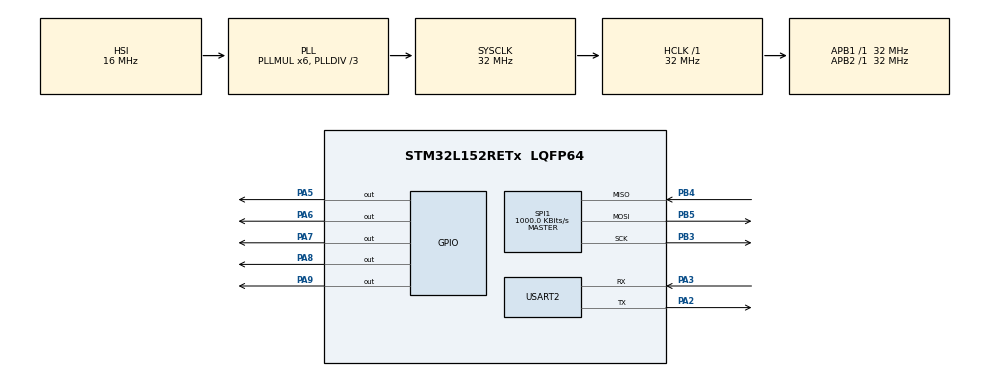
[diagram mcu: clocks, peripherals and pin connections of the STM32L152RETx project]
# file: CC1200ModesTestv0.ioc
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Mcu.Family=STM32L1
Mcu.Name=STM32L152RETx
Mcu.Package=LQFP64
NVIC.PriorityGroup=NVIC_PRIORITYGROUP_0
PA2.Mode=Asynchronous
PA2.Signal=USART2_TX
PA3.Mode=Asynchronous
PA3.Signal=USART2_RX
PA5.Signal=GPIO_Output
PA6.Signal=GPIO_Output
PA7.Signal=GPIO_Output
PA8.Signal=GPIO_Output
PA9.Signal=GPIO_Output
PB3.Mode=Full_Duplex_Master
PB3.Signal=SPI1_SCK
PB4.Mode=Full_Duplex_Master
PB4.Signal=SPI1_MISO
PB5.Mode=Full_Duplex_Master
PB5.Signal=SPI1_MOSI
ProjectManager.HeapSize=0x200
ProjectManager.StackSize=0x400
ProjectManager.TargetToolchain=MDK-ARM V5
RCC.48MHZClocksFreq_Value=48000000
RCC.AHBFreq_Value=32000000
RCC.APB1Freq_Value=32000000
RCC.APB1TimFreq_Value=32000000
RCC.APB2Freq_Value=32000000
RCC.APB2TimFreq_Value=32000000
RCC.HCLKFreq_Value=32000000
RCC.HSE_VALUE=8000000
RCC.HSI_VALUE=16000000
RCC.LSE_VALUE=32768
RCC.MSI_VALUE=2097000
RCC.PLLDIV=RCC_PLL_DIV3
RCC.PLLMUL=RCC_PLL_MUL6
RCC.RTCClockSelectionVirtual=RCC_RTCCLKSOURCE_LSE
RCC.SYSCLKFreq_VALUE=32000000
RCC.SYSCLKSource=RCC_SYSCLKSOURCE_PLLCLK
RCC.USBOutput=48000000
RCC.VCOOutputFreq_Value=96000000
SPI1.BaudRatePrescaler=SPI_BAUDRATEPRESCALER_32
SPI1.CalculateBaudRate=1000.0 KBits/s
SPI1.Direction=SPI_DIRECTION_2LINES
SPI1.Mode=SPI_MODE_MASTER
SPI1.VirtualType=VM_MASTER
USART2.VirtualMode=VM_ASYNC
board=NUCLEO-L152RE

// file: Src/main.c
/* USER CODE BEGIN Header */
/**
  ******************************************************************************
  * @file           : main.c
  * @brief          : Main program body
  ******************************************************************************
  ** This notice applies to any and all portions of this file
  * that are not between comment pairs USER CODE BEGIN and
  * USER CODE END. Other portions of this file, whether
  * inserted by the user or by software development tools
  * are owned by their respective copyright owners.
  *
  * COPYRIGHT(c) 2019 STMicroelectronics
  *
  * Redistribution and use in source and binary forms, with or without modification,
  * are permitted provided that the following conditions are met:
  *   1. Redistributions of source code must retain the above copyright notice,
  *      this list of conditions and the following disclaimer.
  *   2. Redistributions in binary form must reproduce the above copyright notice,
  *      this list of conditions and the following disclaimer in the documentation
  *      and/or other materials provided with the distribution.
  *   3. Neither the name of STMicroelectronics nor the names of its contributors
  *      may be used to endorse or promote products derived from this software
  *      without specific prior written permission.
  *
  * THIS SOFTWARE IS PROVIDED BY THE COPYRIGHT HOLDERS AND CONTRIBUTORS "AS IS"
  * AND ANY EXPRESS OR IMPLIED WARRANTIES, INCLUDING, BUT NOT LIMITED TO, THE
  * IMPLIED WARRANTIES OF MERCHANTABILITY AND FITNESS FOR A PARTICULAR PURPOSE ARE
  * DISCLAIMED. IN NO EVENT SHALL THE COPYRIGHT HOLDER OR CONTRIBUTORS BE LIABLE
  * FOR ANY DIRECT, INDIRECT, INCIDENTAL, SPECIAL, EXEMPLARY, OR CONSEQUENTIAL
  * DAMAGES (INCLUDING, BUT NOT LIMITED TO, PROCUREMENT OF SUBSTITUTE GOODS OR
  * SERVICES; LOSS OF USE, DATA, OR PROFITS; OR BUSINESS INTERRUPTION) HOWEVER
  * CAUSED AND ON ANY THEORY OF LIABILITY, WHETHER IN CONTRACT, STRICT LIABILITY,
  * OR TORT (INCLUDING NEGLIGENCE OR OTHERWISE) ARISING IN ANY WAY OUT OF THE USE
  * OF THIS SOFTWARE, EVEN IF ADVISED OF THE POSSIBILITY OF SUCH DAMAGE.
  *
  ******************************************************************************
  */
/* USER CODE END Header */

#include "main.h"

/* USER CODE BEGIN Includes */

#include "string.h"
#include "CC1200_reg.h"
#include "smartrf_CC1200.h"

/* USER CODE END Includes */

SPI_HandleTypeDef hspi1;

UART_HandleTypeDef huart2;

void SystemClock_Config(void);
static void MX_GPIO_Init(void);
static void MX_SPI1_Init(void);
static void MX_USART2_UART_Init(void);
/* USER CODE BEGIN PFP */

void trxRfSpiInterfaceInit(uint8_t prescalerValue);
uint8_t trx8BitRegAccess(uint8_t accessType, uint8_t addrByte, uint8_t *pData, int len);
uint8_t ReadWriteExtendedReg (uint8_t accessType, uint16_t address, uint8_t value);
uint8_t ReadWriteCommandReg (uint8_t address);
void CC1200_INIT(void);

/* USER CODE END PFP */

int main(void)
{

  /* MCU Configuration--------------------------------------------------------*/

  /* Reset of all peripherals, Initializes the Flash interface and the Systick. */
  HAL_Init();

  /* Configure the system clock */
  SystemClock_Config();

  /* Initialize all configured peripherals */
  MX_GPIO_Init();
  MX_SPI1_Init();
  MX_USART2_UART_Init();
  /* USER CODE BEGIN 2 */

	/* Start CC1200 SPI Test Harness
	 *
	 * Wiring:
	 * Reset -- D7 (PA8)
	 * CSN   -- D8 (PA9)
	 * SCLK  -- D3 (PB3)
	 * MOSI  -- D4 (PB5)
	 * MISO  -- D5 (PB4)
	 */

	//Set CS high
	HAL_GPIO_WritePin(GPIOA, GPIO_PIN_9, GPIO_PIN_SET);
	//Set reset high, low, high to begin
	HAL_GPIO_WritePin(GPIOA, GPIO_PIN_8, GPIO_PIN_SET);
	HAL_Delay(10);
	HAL_GPIO_WritePin(GPIOA, GPIO_PIN_8, GPIO_PIN_RESET);
	HAL_Delay(10);
	HAL_GPIO_WritePin(GPIOA, GPIO_PIN_8, GPIO_PIN_SET);
	HAL_Delay(10);

	///////////////////////////////////////////////////////////////////////
	// Start the test
	///////////////////////////////////////////////////////////////////////
	uint16_t address ;
	uint8_t value  ;
	uint8_t readValue;
	char Msg1[100] = {0};
	char Msg2[100] = {0};
	char Msg3[100] = {0};

	snprintf((char *)Msg1, sizeof(Msg1), "\n\nSTARTING PACKET RX/TX TEST\n\n");
	HAL_UART_Transmit(&huart2, (uint8_t *) Msg1, sizeof(Msg1), 1);
		memcpy(Msg1, Msg2, 100);
	// Configure all neccesary registers (from smart RF)
	CC1200_INIT();

	///////////////////////////////////////////////////////////////////////
	// Test: send a packet continuously and receive with the dev board
	///////////////////////////////////////////////////////////////////////

 	//Step 1 fill out the tx buffer with data
	snprintf((char *)Msg3, sizeof(Msg3), "\n\nSTARTING PACKETRX/TX TEST\n\n");
	trx8BitRegAccess((CC1200_WRITE_BIT | CC1200_BURST_BIT), CC1200_TXFIFO, (uint8_t *) Msg3, 6 );

	//find a way to make sure that data is in txfifo

	//Step 2 Strobe tx to send mode(going from idle to transmit)
	ReadWriteCommandReg(CC1200_SIDLE); // Idle//might need to go to idle first
	ReadWriteCommandReg(CC1200_STX);//Transmit

 	//Step3 SET or RESET neccesary frontend pins on the frontend of the transciver
	// TX: set PA7(Power Amplifier) ,set PA6(switch) , RESET PA5(LNA off)
	HAL_GPIO_WritePin(GPIOA, GPIO_PIN_7, GPIO_PIN_RESET);//turn on PA(qorvo5110)
	HAL_GPIO_WritePin(GPIOA, GPIO_PIN_6, GPIO_PIN_SET);//switch on(RFC to RF2)
  HAL_GPIO_WritePin(GPIOA, GPIO_PIN_5, GPIO_PIN_SET);//turn off LNA
  /* USER CODE END 2 */

  /* Infinite loop */
  while (1)
  {

  }
}

void SystemClock_Config(void)
{
  RCC_OscInitTypeDef RCC_OscInitStruct = {0};
  RCC_ClkInitTypeDef RCC_ClkInitStruct = {0};

  /**Configure the main internal regulator output voltage
  */
  __HAL_PWR_VOLTAGESCALING_CONFIG(PWR_REGULATOR_VOLTAGE_SCALE1);
  /**Initializes the CPU, AHB and APB busses clocks
  */
  RCC_OscInitStruct.OscillatorType = RCC_OSCILLATORTYPE_HSI;
  RCC_OscInitStruct.HSIState = RCC_HSI_ON;
  RCC_OscInitStruct.HSICalibrationValue = RCC_HSICALIBRATION_DEFAULT;
  RCC_OscInitStruct.PLL.PLLState = RCC_PLL_ON;
  RCC_OscInitStruct.PLL.PLLSource = RCC_PLLSOURCE_HSI;
  RCC_OscInitStruct.PLL.PLLMUL = RCC_PLL_MUL6;
  RCC_OscInitStruct.PLL.PLLDIV = RCC_PLL_DIV3;
  if (HAL_RCC_OscConfig(&RCC_OscInitStruct) != HAL_OK)
  {
    Error_Handler();
  }
  /**Initializes the CPU, AHB and APB busses clocks
  */
  RCC_ClkInitStruct.ClockType = RCC_CLOCKTYPE_HCLK|RCC_CLOCKTYPE_SYSCLK
                              |RCC_CLOCKTYPE_PCLK1|RCC_CLOCKTYPE_PCLK2;
  RCC_ClkInitStruct.SYSCLKSource = RCC_SYSCLKSOURCE_PLLCLK;
  RCC_ClkInitStruct.AHBCLKDivider = RCC_SYSCLK_DIV1;
  RCC_ClkInitStruct.APB1CLKDivider = RCC_HCLK_DIV1;
  RCC_ClkInitStruct.APB2CLKDivider = RCC_HCLK_DIV1;

  if (HAL_RCC_ClockConfig(&RCC_ClkInitStruct, FLASH_LATENCY_1) != HAL_OK)
  {
    Error_Handler();
  }
}

static void MX_SPI1_Init(void)
{

  /* SPI1 parameter configuration*/
  hspi1.Instance = SPI1;
  hspi1.Init.Mode = SPI_MODE_MASTER;
  hspi1.Init.Direction = SPI_DIRECTION_2LINES;
  hspi1.Init.DataSize = SPI_DATASIZE_8BIT;
  hspi1.Init.CLKPolarity = SPI_POLARITY_LOW;
  hspi1.Init.CLKPhase = SPI_PHASE_1EDGE;
  hspi1.Init.NSS = SPI_NSS_SOFT;
  hspi1.Init.BaudRatePrescaler = SPI_BAUDRATEPRESCALER_32;
  hspi1.Init.FirstBit = SPI_FIRSTBIT_MSB;
  hspi1.Init.TIMode = SPI_TIMODE_DISABLE;
  hspi1.Init.CRCCalculation = SPI_CRCCALCULATION_DISABLE;
  hspi1.Init.CRCPolynomial = 10;
  if (HAL_SPI_Init(&hspi1) != HAL_OK)
  {
    Error_Handler();
  }

}

static void MX_USART2_UART_Init(void)
{

  huart2.Instance = USART2;
  huart2.Init.BaudRate = 115200;
  huart2.Init.WordLength = UART_WORDLENGTH_8B;
  huart2.Init.StopBits = UART_STOPBITS_1;
  huart2.Init.Parity = UART_PARITY_NONE;
  huart2.Init.Mode = UART_MODE_TX_RX;
  huart2.Init.HwFlowCtl = UART_HWCONTROL_NONE;
  huart2.Init.OverSampling = UART_OVERSAMPLING_16;
  if (HAL_UART_Init(&huart2) != HAL_OK)
  {
    Error_Handler();
  }

}

static void MX_GPIO_Init(void)
{
  GPIO_InitTypeDef GPIO_InitStruct = {0};

  /* GPIO Ports Clock Enable */
  __HAL_RCC_GPIOA_CLK_ENABLE();
  __HAL_RCC_GPIOB_CLK_ENABLE();

  /*Configure GPIO pin Output Level */
  HAL_GPIO_WritePin(GPIOA, GPIO_PIN_5|GPIO_PIN_6|GPIO_PIN_7|GPIO_PIN_8
                          |GPIO_PIN_9, GPIO_PIN_RESET);

  /*Configure GPIO pins : PA5 PA6 PA7 PA8
                           PA9 */
  GPIO_InitStruct.Pin = GPIO_PIN_5|GPIO_PIN_6|GPIO_PIN_7|GPIO_PIN_8
                          |GPIO_PIN_9;
  GPIO_InitStruct.Mode = GPIO_MODE_OUTPUT_PP;
  GPIO_InitStruct.Pull = GPIO_NOPULL;
  GPIO_InitStruct.Speed = GPIO_SPEED_FREQ_LOW;
  HAL_GPIO_Init(GPIOA, &GPIO_InitStruct);

}

/* USER CODE BEGIN 4 */

static void trxReadWriteBurstSingle(uint8_t addr, uint8_t *pData, int len)
{
    int i;
    uint8_t dummy;
    /* Communicate len number of bytes: if RX - the procedure sends 0x00 to push bytes from slave*/
    if (addr & CC1200_READ_BIT) {
        if (addr & CC1200_BURST_BIT) {
            for (i = 0; i < len; i++) {
								HAL_SPI_Transmit(&hspi1,0x0, 1, 10);
                while (HAL_SPI_GetState(&hspi1) != HAL_SPI_STATE_READY);
                HAL_SPI_Receive(&hspi1, pData, 1, 10);
                pData++;

            }
        } else {
						HAL_SPI_Transmit(&hspi1,0x0, 1, 10);
            while (HAL_SPI_GetState(&hspi1) != HAL_SPI_STATE_READY);
            HAL_SPI_Receive(&hspi1, pData, 1, 10);
        }
    } else {
        if (addr & CC1200_BURST_BIT) {
            /* Communicate len number of bytes: if TX - the procedure doesn't overwrite pData */
            for (i = 0; i < len; i++) {
								HAL_SPI_Transmit(&hspi1,pData, 1, 10);
                while (HAL_SPI_GetState(&hspi1) != HAL_SPI_STATE_READY);
								HAL_SPI_Receive(&hspi1, &dummy, 1, 10);
                pData++;
            }
        } else {
						HAL_SPI_Transmit(&hspi1,pData, 1, 10);
            while (HAL_SPI_GetState(&hspi1) != HAL_SPI_STATE_READY);
						HAL_SPI_Receive(&hspi1, &dummy, 1, 10);
        }
    }
}

uint8_t trx8BitRegAccess(uint8_t accessType, uint8_t addrByte, uint8_t *pData, int len)
{
	uint8_t addr;
	uint8_t readValue  = 0;
	addr = accessType | addrByte;

	HAL_GPIO_WritePin(GPIOA, GPIO_PIN_9, GPIO_PIN_RESET);

	HAL_SPI_Transmit(&hspi1,&addr, 1, 10);
	while (HAL_SPI_GetState(&hspi1) != HAL_SPI_STATE_READY){};
	HAL_SPI_Receive(&hspi1, &readValue, 1, 10);
	trxReadWriteBurstSingle(accessType | addrByte, pData, len);

	HAL_GPIO_WritePin(GPIOA, GPIO_PIN_9, GPIO_PIN_SET);

	return (readValue);
}

uint8_t ReadWriteExtendedReg (uint8_t accessType, uint16_t address, uint8_t value)
{
	// Chip select low
	HAL_GPIO_WritePin(GPIOA, GPIO_PIN_9, GPIO_PIN_RESET);

	uint8_t addrHI = address>>8;
	uint8_t addrLO = (uint8_t) address;
	uint8_t readValue = 0;

	if(accessType) { 	// Read from address

		if (addrHI)
		{
			addrHI |= CC1200_READ_BIT;
			HAL_SPI_Transmit(&hspi1,&addrHI, 1, 10);	// Access address
			while (HAL_SPI_GetState(&hspi1) != HAL_SPI_STATE_READY){};
			HAL_SPI_Transmit(&hspi1,&addrLO, 1, 10);
		}
		else
		{
			addrLO |= CC1200_READ_BIT;
			HAL_SPI_Transmit(&hspi1,&addrLO, 1, 10);
			while (HAL_SPI_GetState(&hspi1) != HAL_SPI_STATE_READY){};
		}
		HAL_SPI_Transmit(&hspi1,0x0, 1, 10); // Transmit 0 for read
		HAL_SPI_Receive(&hspi1, &readValue, 1, 10); // Read value

	} else { // Write to address

		addrHI |= CC1200_WRITE_BIT;

		if (addrHI)
		{
			HAL_SPI_Transmit(&hspi1,&addrHI, 1, 10);	// Access address
			while (HAL_SPI_GetState(&hspi1) != HAL_SPI_STATE_READY){};
		}
		HAL_SPI_Transmit(&hspi1,&addrLO, 1, 10);
		while (HAL_SPI_GetState(&hspi1) != HAL_SPI_STATE_READY){};

		HAL_SPI_Transmit(&hspi1,&value, 1, 10);		// Write value
	}

	// Chip select high
	HAL_GPIO_WritePin(GPIOA, GPIO_PIN_9, GPIO_PIN_SET);

	return readValue;
}

uint8_t ReadWriteCommandReg (uint8_t address)
{
	// Chip select low
	HAL_GPIO_WritePin(GPIOA, GPIO_PIN_9, GPIO_PIN_RESET);

  uint8_t readValue  = 0;

	HAL_SPI_Transmit(&hspi1,&address, 1, 10);
	while (HAL_SPI_GetState(&hspi1) != HAL_SPI_STATE_READY){};
	HAL_SPI_Receive(&hspi1, &readValue, 1, 10);

	// Chip select high
	HAL_GPIO_WritePin(GPIOA, GPIO_PIN_9, GPIO_PIN_SET);

	return readValue;
}

void CC1200_INIT(void)
{
	ReadWriteExtendedReg(CC1200_WRITE_BIT, CC1200_IOCFG2, SMARTRF_SETTING_IOCFG2);
	ReadWriteExtendedReg(CC1200_WRITE_BIT, CC1200_DEVIATION_M, SMARTRF_SETTING_DEVIATION_M);
	ReadWriteExtendedReg(CC1200_WRITE_BIT, CC1200_MODCFG_DEV_E, SMARTRF_SETTING_MODCFG_DEV_E);
	ReadWriteExtendedReg(CC1200_WRITE_BIT, CC1200_DCFILT_CFG, SMARTRF_SETTING_DCFILT_CFG);
	ReadWriteExtendedReg(CC1200_WRITE_BIT, CC1200_PREAMBLE_CFG0, SMARTRF_SETTING_PREAMBLE_CFG0);
	ReadWriteExtendedReg(CC1200_WRITE_BIT, CC1200_IQIC, SMARTRF_SETTING_IQIC);
	ReadWriteExtendedReg(CC1200_WRITE_BIT, CC1200_CHAN_BW, SMARTRF_SETTING_CHAN_BW);
	ReadWriteExtendedReg(CC1200_WRITE_BIT, CC1200_MDMCFG1, SMARTRF_SETTING_MDMCFG1);
	ReadWriteExtendedReg(CC1200_WRITE_BIT, CC1200_MDMCFG0, SMARTRF_SETTING_MDMCFG0);
	ReadWriteExtendedReg(CC1200_WRITE_BIT, CC1200_SYMBOL_RATE2, SMARTRF_SETTING_SYMBOL_RATE2);
	ReadWriteExtendedReg(CC1200_WRITE_BIT, CC1200_SYMBOL_RATE1, SMARTRF_SETTING_SYMBOL_RATE1);
	ReadWriteExtendedReg(CC1200_WRITE_BIT, CC1200_SYMBOL_RATE0, SMARTRF_SETTING_SYMBOL_RATE0);
	ReadWriteExtendedReg(CC1200_WRITE_BIT, CC1200_AGC_REF, SMARTRF_SETTING_AGC_REF);
	ReadWriteExtendedReg(CC1200_WRITE_BIT, CC1200_AGC_CS_THR, SMARTRF_SETTING_AGC_CS_THR);
	ReadWriteExtendedReg(CC1200_WRITE_BIT, CC1200_AGC_CFG1, SMARTRF_SETTING_AGC_CFG1);
	ReadWriteExtendedReg(CC1200_WRITE_BIT, CC1200_AGC_CFG0, SMARTRF_SETTING_AGC_CFG0);
	ReadWriteExtendedReg(CC1200_WRITE_BIT, CC1200_FIFO_CFG, SMARTRF_SETTING_FIFO_CFG);
	ReadWriteExtendedReg(CC1200_WRITE_BIT, CC1200_FS_CFG, SMARTRF_SETTING_FS_CFG);
	ReadWriteExtendedReg(CC1200_WRITE_BIT, CC1200_PKT_CFG2, SMARTRF_SETTING_PKT_CFG2);
	ReadWriteExtendedReg(CC1200_WRITE_BIT, CC1200_PKT_CFG0, SMARTRF_SETTING_PKT_CFG0);
	ReadWriteExtendedReg(CC1200_WRITE_BIT, CC1200_PKT_LEN, SMARTRF_SETTING_PKT_LEN);
	ReadWriteExtendedReg(CC1200_WRITE_BIT, CC1200_IF_MIX_CFG, SMARTRF_SETTING_IF_MIX_CFG);
	ReadWriteExtendedReg(CC1200_WRITE_BIT, CC1200_FREQOFF_CFG, SMARTRF_SETTING_FREQOFF_CFG);
	ReadWriteExtendedReg(CC1200_WRITE_BIT, CC1200_MDMCFG2, SMARTRF_SETTING_MDMCFG2);
	ReadWriteExtendedReg(CC1200_WRITE_BIT, CC1200_FREQ2, SMARTRF_SETTING_FREQ2);
	ReadWriteExtendedReg(CC1200_WRITE_BIT, CC1200_IF_ADC1, SMARTRF_SETTING_IF_ADC1);
	ReadWriteExtendedReg(CC1200_WRITE_BIT, CC1200_IF_ADC0, SMARTRF_SETTING_IF_ADC0);
	ReadWriteExtendedReg(CC1200_WRITE_BIT, CC1200_FS_DIG1, SMARTRF_SETTING_FS_DIG1);
	ReadWriteExtendedReg(CC1200_WRITE_BIT, CC1200_FS_DIG0, SMARTRF_SETTING_FS_DIG0);
	ReadWriteExtendedReg(CC1200_WRITE_BIT, CC1200_FS_CAL1, SMARTRF_SETTING_FS_CAL1);
	ReadWriteExtendedReg(CC1200_WRITE_BIT, CC1200_FS_CAL0, SMARTRF_SETTING_FS_CAL0);
	ReadWriteExtendedReg(CC1200_WRITE_BIT, CC1200_FS_DIVTWO, SMARTRF_SETTING_FS_DIVTWO);
	ReadWriteExtendedReg(CC1200_WRITE_BIT, CC1200_FS_DSM0, SMARTRF_SETTING_FS_DSM0);
	ReadWriteExtendedReg(CC1200_WRITE_BIT, CC1200_FS_DVC0, SMARTRF_SETTING_FS_DVC0);
	ReadWriteExtendedReg(CC1200_WRITE_BIT, CC1200_FS_PFD, SMARTRF_SETTING_FS_PFD);
	ReadWriteExtendedReg(CC1200_WRITE_BIT, CC1200_FS_PRE, SMARTRF_SETTING_FS_PRE);
	ReadWriteExtendedReg(CC1200_WRITE_BIT, CC1200_FS_REG_DIV_CML, SMARTRF_SETTING_FS_REG_DIV_CML);
	ReadWriteExtendedReg(CC1200_WRITE_BIT, CC1200_FS_SPARE, SMARTRF_SETTING_FS_SPARE);
	ReadWriteExtendedReg(CC1200_WRITE_BIT, CC1200_FS_VCO0, SMARTRF_SETTING_FS_VCO0);
	ReadWriteExtendedReg(CC1200_WRITE_BIT, CC1200_XOSC5, SMARTRF_SETTING_XOSC5);
	ReadWriteExtendedReg(CC1200_WRITE_BIT, CC1200_XOSC1, SMARTRF_SETTING_XOSC1);
}

/* USER CODE END 4 */

void Error_Handler(void)
{
}

/************************ (C) COPYRIGHT STMicroelectronics *****END OF FILE****/
